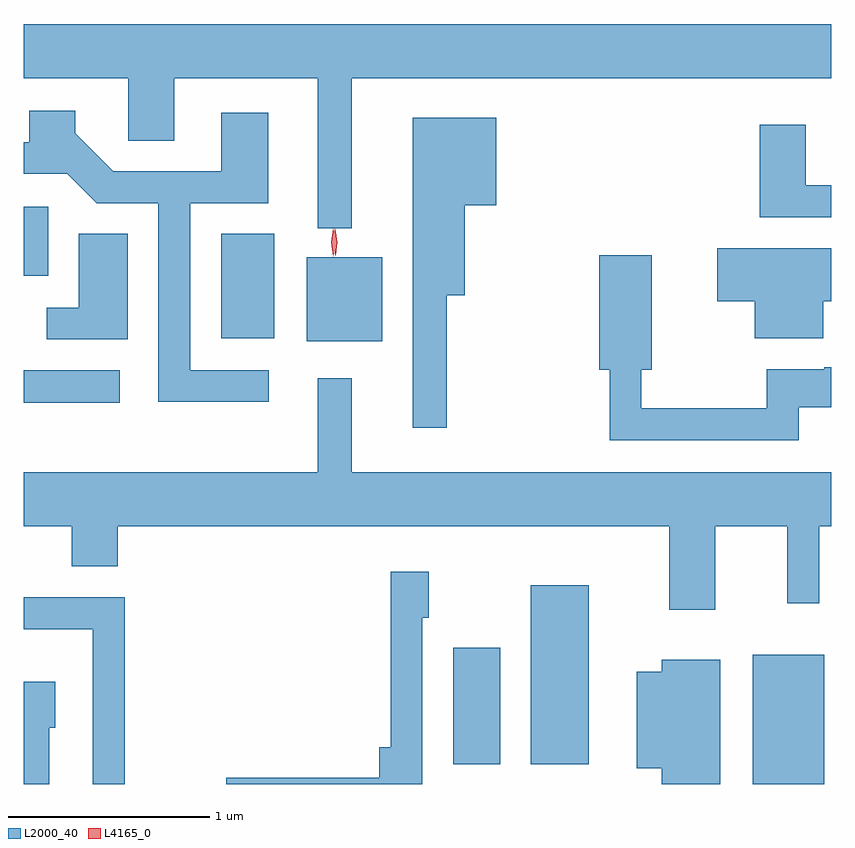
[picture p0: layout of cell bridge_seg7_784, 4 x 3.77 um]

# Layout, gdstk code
import gdstk
lib = gdstk.Library(unit=1e-6, precision=1e-09)
def R(c, l, rs):  # rectangles x0, y0, x1, y1
    for r in rs: c.add(gdstk.rectangle(r[:2], r[2:], *l))
def P(c, l, *ps):  # polygons
    for p in ps: c.add(gdstk.Polygon(p, *l))
L2000_40 = (2000, 40)
L4165_0 = (4165, 0)

bridge_seg7_784 = lib.new_cell('bridge_seg7_784')
R(bridge_seg7_784, L2000_40, [(332.576,1750.778,332.929,1751.419), (331.091,1750.876,331.324,1751.454), (331.476,1750.876,331.764,1751.764), (328.964,1752.666,329.438,1752.829), (330.366,1752.971,330.739,1753.389), (329.941,1752.986,330.204,1753.504), (328.964,1753.296,329.084,1753.639)])
P(bridge_seg7_784, L2000_40, [(330.589,1754.276),(332.964,1754.276),(332.964,1754.544),(328.964,1754.544),(328.964,1754.276),(329.481,1754.276),(329.481,1753.966),(329.709,1753.966),(329.709,1754.276),(330.421,1754.276),(330.421,1753.533),(330.589,1753.533)],
  [(330.178,1752.829),(329.789,1752.829),(329.789,1753.656),(330.174,1753.656),(330.174,1754.104),(329.941,1754.104),(329.941,1753.814),(329.407,1753.814),(329.219,1754.002),(329.219,1754.114),(328.991,1754.114),(328.991,1753.959),(328.964,1753.959),(328.964,1753.801),(329.179,1753.801),(329.324,1753.656),(329.631,1753.656),(329.631,1752.671),(330.178,1752.671)],
  [(331.059,1753.201),(331.149,1753.201),(331.149,1753.646),(331.304,1753.646),(331.304,1754.079),(330.891,1754.079),(330.891,1752.543),(331.059,1752.543)],
  [(332.964,1753.744),(332.839,1753.744),(332.839,1754.044),(332.611,1754.044),(332.611,1753.586),(332.964,1753.586)],
  [(329.479,1753.504),(329.236,1753.504),(329.236,1753.139),(329.078,1753.139),(329.078,1752.981),(329.479,1752.981)],
  [(332.924,1753.171),(332.964,1753.171),(332.964,1753.434),(332.401,1753.434),(332.401,1753.171),(332.586,1753.171),(332.586,1752.986),(332.924,1752.986)],
  [(332.804,1752.646),(332.964,1752.646),(332.964,1752.844),(332.93,1752.844),(332.93,1752.834),(332.646,1752.834),(332.646,1752.639),(332.024,1752.639),(332.024,1752.831),(332.074,1752.831),(332.074,1753.399),(331.816,1753.399),(331.816,1752.831),(331.866,1752.831),(331.866,1752.481),(332.804,1752.481)],
  [(332.389,1752.056),(332.746,1752.056),(332.746,1751.673),(332.904,1751.673),(332.904,1752.056),(332.964,1752.056),(332.964,1752.324),(330.589,1752.324),(330.589,1752.788),(330.421,1752.788),(330.421,1752.324),(328.964,1752.324),(328.964,1752.056),(329.201,1752.056),(329.201,1751.856),(329.429,1751.856),(329.429,1752.056),(332.161,1752.056),(332.161,1751.641),(332.389,1751.641)],
  [(330.939,1751.601),(330.969,1751.601),(330.969,1751.829),(330.781,1751.829),(330.781,1750.959),(330.726,1750.959),(330.726,1750.809),(329.966,1750.809),(329.966,1750.778),(330.939,1750.778)],
  [(329.464,1751.704),(328.964,1751.704),(328.964,1751.546),(329.306,1751.546),(329.306,1750.778),(329.464,1750.778)],
  [(332.414,1751.394),(332.126,1751.394),(332.126,1751.334),(332.001,1751.334),(332.001,1750.856),(332.126,1750.856),(332.126,1750.778),(332.414,1750.778)],
  [(329.089,1751.056),(329.119,1751.056),(329.119,1751.284),(328.964,1751.284),(328.964,1750.778),(329.089,1750.778)])
P(bridge_seg7_784, L4165_0, [(330.508,1753.398),(330.508,1753.399),(330.497,1753.462),(330.505,1753.526),(330.506,1753.527),(330.506,1753.526),(330.517,1753.463),(330.509,1753.399)],
  [(330.497,1753.394),(330.497,1753.394),(330.488,1753.462),(330.497,1753.53),(330.498,1753.53),(330.498,1753.53),(330.507,1753.462),(330.498,1753.394)])

lib.write_gds('bridge_seg7_784.gds')
